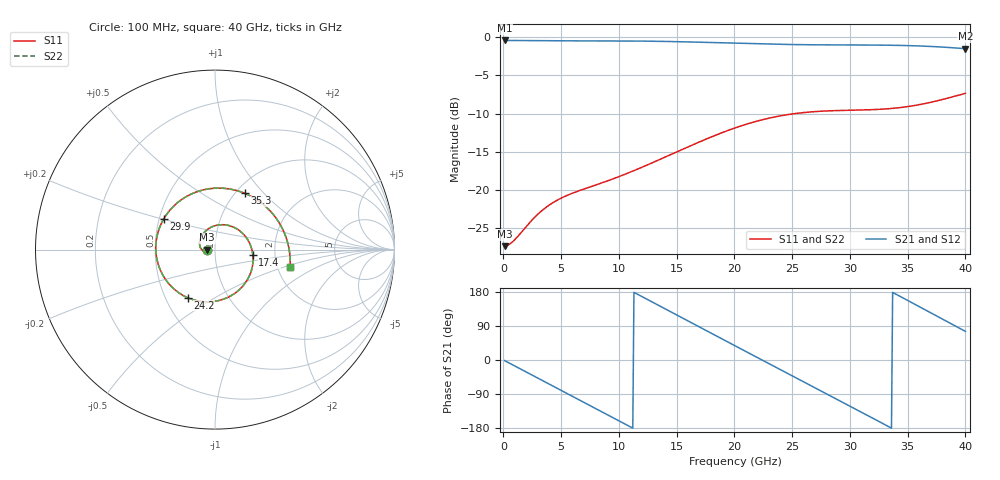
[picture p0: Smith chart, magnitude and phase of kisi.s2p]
! P_ts6_pad: 0402 capacitor pad (0.56 × 0.62 mm) on a 50 Ω microstrip, plane intact
! stackup: ThunderScope Rev5.3 6-layer (FR408HR / FR-4, from the board file)
! ports: 1, 2
! kisi-fdtd, conformal, dfine 0.035 mm, 459984 cells
# Hz S RI R 50
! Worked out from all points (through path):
!   400 points, 100 MHz to 40 GHz, reference 50 ohm
!   highest |S21| = -0.42 dB at 100 MHz (marker M1); lowest = -1.5 dB at 40 GHz (marker M2)
!   group delay of S21, straight-line fit = 44.7 ps
!   lowest |S11| = -27.3 dB at 100 MHz (marker M3), VSWR 1.09, Z = 45.9 - j0.0755 ohm
!   |S11| at or under -10 dB: start of sweep to 25.16 GHz
!   |S22| runs from -27.3 to -7.3 dB; largest |S21 - S12| = 0
!   S11 on the Smith chart (normalised r, x): 100 MHz: 0.92, -0.00; 17.4 GHz: 1.53, -0.10; 24.2 GHz: 0.65, -0.38; 29.9 GHz: 0.53, +0.20; 35.3 GHz: 1.10, +0.79; 40 GHz: 2.34, -0.56
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1e8  -0.043 -0.000822  0.9526 -0.0268  0.9526 -0.0268  -0.043 -0.000822
1.8e9  -0.055 -0.00968  0.8325 -0.4612  0.8325 -0.4612  -0.055 -0.00968
3.8e9  -0.0782 0.00487  0.4591 -0.8305  0.4591 -0.8305  -0.0782 0.00487
5.3e9  -0.0858 0.0299  0.0816 -0.944  0.0816 -0.944  -0.0858 0.0299
6.8e9  -0.0817 0.0588  -0.3094 -0.895  -0.3094 -0.895  -0.0817 0.0588
8.7e9  -0.0603 0.0953  -0.7206 -0.614  -0.7206 -0.614  -0.0603 0.0953
1.03e10  -0.0263 0.1223  -0.9152 -0.2395  -0.9152 -0.2395  -0.0263 0.1223
1.18e10  0.0211 0.1375  -0.9311 0.1566  -0.9311 0.1566  0.0211 0.1375
1.34e10  0.0854 0.1318  -0.7669 0.545  -0.7669 0.545  0.0854 0.1318
1.55e10  0.1699 0.0727  -0.33 0.8738  -0.33 0.8738  0.1699 0.0727
1.74e10  0.2111 -0.0313  0.1595 0.9123  0.1595 0.9123  0.2111 -0.0313
2.01e10  0.1533 -0.205  0.732 0.547  0.732 0.547  0.1533 -0.205
2.22e10  0.0127 -0.2856  0.9034 0.0509  0.9034 0.0509  0.0127 -0.2856
2.42e10  -0.1523 -0.268  0.7882 -0.4306  0.7882 -0.4306  -0.1523 -0.268
2.67e10  -0.3047 -0.1138  0.3271 -0.8308  0.3271 -0.8308  -0.3047 -0.1138
2.83e10  -0.3291 0.0292  -0.064 -0.889  -0.064 -0.889  -0.3291 0.0292
2.99e10  -0.2862 0.1701  -0.4431 -0.7724  -0.4431 -0.7724  -0.2862 0.1701
3.17e10  -0.1691 0.2898  -0.7622 -0.4586  -0.7622 -0.4586  -0.1691 0.2898
3.34e10  -0.0168 0.3407  -0.8856 -0.0516  -0.8856 -0.0516  -0.0168 0.3407
3.53e10  0.1654 0.3138  -0.7793 0.4107  -0.7793 0.4107  0.1654 0.3138
3.77e10  0.3536 0.1557  -0.3361 0.7972  -0.3361 0.7972  0.3536 0.1557
4e10  0.4184 -0.0975  0.21 0.8151  0.21 0.8151  0.4184 -0.0975
